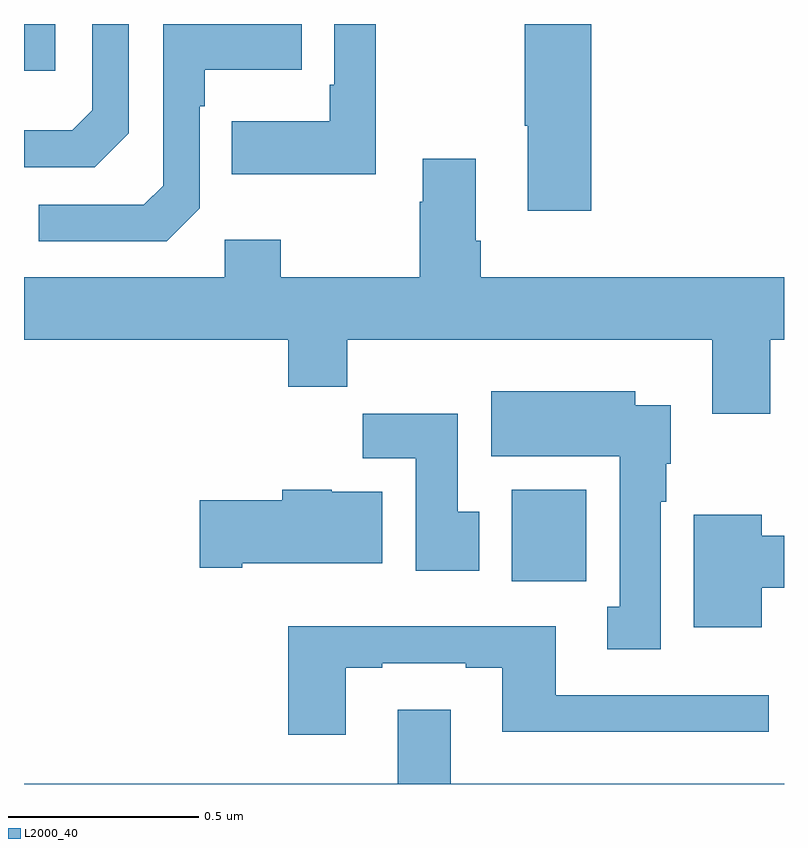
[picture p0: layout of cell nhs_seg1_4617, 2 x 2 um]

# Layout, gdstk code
import gdstk
lib = gdstk.Library(unit=1e-6, precision=1e-09)
def R(c, l, rs):  # rectangles x0, y0, x1, y1
    for r in rs: c.add(gdstk.rectangle(r[:2], r[2:], *l))
def P(c, l, *ps):  # polygons
    for p in ps: c.add(gdstk.Polygon(p, *l))
L2000_40 = (2000, 40)

nhs_seg1_4617 = lib.new_cell('nhs_seg1_4617')
R(nhs_seg1_4617, L2000_40, [(169.283,581.732,169.48,581.974), (168,583.076,168.082,583.199)])
P(nhs_seg1_4617, L2000_40, [(169.493,583.199),(169.318,583.199),(169.318,582.931),(169.325,582.931),(169.325,582.708),(169.493,582.708)],
  [(168.925,583.199),(168.816,583.199),(168.816,583.039),(168.804,583.039),(168.804,582.943),(168.547,582.943),(168.547,582.803),(168.925,582.803)],
  [(168.276,582.912),(168.276,583.199),(168.18,583.199),(168.18,582.972),(168.127,582.919),(168,582.919),(168,582.822),(168.186,582.822)],
  [(168.462,582.714),(168.462,582.983),(168.475,582.983),(168.475,583.079),(168.731,583.079),(168.731,583.199),(168.366,583.199),(168.366,582.774),(168.315,582.723),(168.039,582.723),(168.039,582.627),(168.375,582.627)],
  [(169.964,582.368),(170,582.368),(170,582.532),(169.202,582.532),(169.202,582.628),(169.189,582.628),(169.189,582.844),(169.049,582.844),(169.049,582.731),(169.042,582.731),(169.042,582.532),(168.675,582.532),(168.675,582.631),(168.528,582.631),(168.528,582.532),(168,582.532),(168,582.368),(168.695,582.368),(168.695,582.244),(168.851,582.244),(168.851,582.368),(169.811,582.368),(169.811,582.174),(169.964,582.174)],
  [(169.675,581.942),(169.69,581.942),(169.69,582.042),(169.702,582.042),(169.702,582.196),(169.609,582.196),(169.609,582.232),(169.229,582.232),(169.229,582.062),(169.568,582.062),(169.568,581.666),(169.535,581.666),(169.535,581.553),(169.675,581.553)],
  [(169.198,581.916),(169.141,581.916),(169.141,582.174),(168.892,582.174),(168.892,582.056),(169.031,582.056),(169.031,581.76),(169.198,581.76)],
  [(168.574,581.78),(168.943,581.78),(168.943,581.968),(168.81,581.968),(168.81,581.974),(168.68,581.974),(168.68,581.946),(168.462,581.946),(168.462,581.768),(168.574,581.768)],
  [(169.942,581.716),(170,581.716),(170,581.852),(169.942,581.852),(169.942,581.908),(169.763,581.908),(169.763,581.612),(169.942,581.612)],
  [(168.847,581.505),(168.943,581.505),(168.943,581.517),(169.163,581.517),(169.163,581.505),(169.259,581.505),(169.259,581.336),(169.96,581.336),(169.96,581.433),(169.399,581.433),(169.399,581.614),(168.695,581.614),(168.695,581.328),(168.847,581.328)],
  [(170,581.2),(169.123,581.2),(169.123,581.395),(168.983,581.395),(168.983,581.2),(168,581.2),(168,581.199),(170,581.199)])

lib.write_gds('nhs_seg1_4617.gds')
